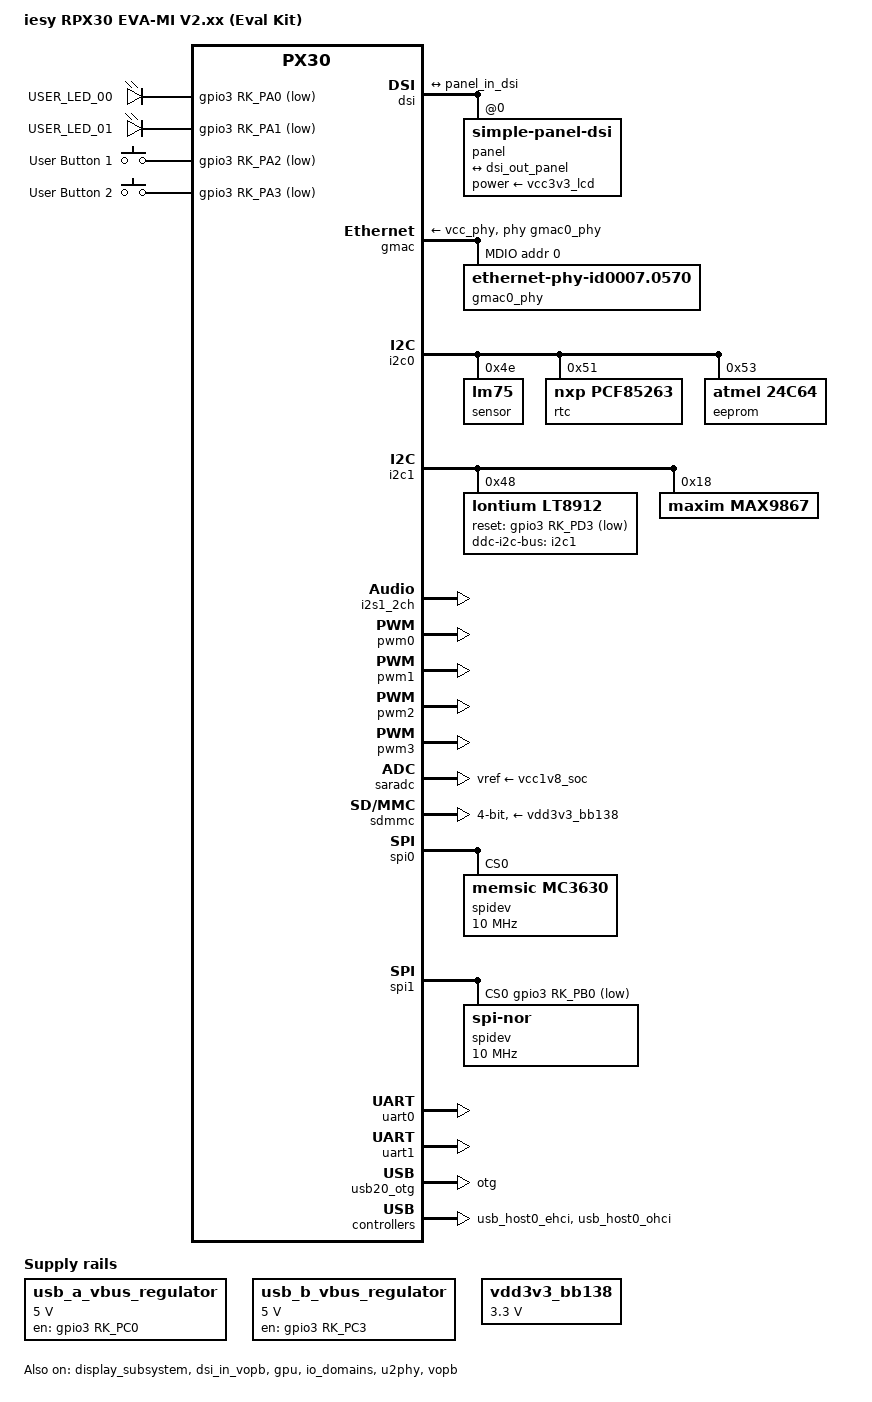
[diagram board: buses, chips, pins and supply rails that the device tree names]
// SPDX-License-Identifier: (GPL-2.0+ OR MIT)
/*
 * Device Tree for iesy RPX30 EVA-MI V2.xx (Eval Kit)
 *
 * Copyright (c) 2022 iesy GmbH
 */

/dts-v1/;
#include <dt-bindings/input/input.h>
#include <dt-bindings/net/mscc-phy-vsc8531.h>
#include "px30-iesy-osm-sf.dtsi"

/ {
	model = "iesy RPX30 EVA-MI V2.xx (Eval Kit)";
	compatible = "iesy,rpx30-eva-mi-v2", "rockchip,px30";

	leds {
		compatible = "gpio-leds";

		pinctrl-names = "default";
		pinctrl-0 = <&pinctrl_leds_bb138>;

		/* BB138a: green user led (LD4) */
		led@0 {
			label = "USER_LED_00";
			gpios = <&gpio3 RK_PA0 GPIO_ACTIVE_LOW>;
			linux,default-trigger = "heartbeat";
		};

		/* BB138a: yellow user led (LD9)) */
		led@1 {
			label = "USER_LED_01";
			gpios = <&gpio3 RK_PA1 GPIO_ACTIVE_LOW>;
			default-state = "off";
		};
	};

	/* BB138a: MAX9867ETJ+ audio codec */
	max9867-sound {
		compatible = "simple-audio-card";
		simple-audio-card,name = "rockchip,max9867-codec";
		simple-audio-card,format = "i2s";

		simple-audio-card,widgets =
			"Speaker", "Jack",
			"Microphone", "Mic";
		simple-audio-card,routing =
			"Jack", "LOUT",
			"Jack", "ROUT",
			"Mic", "DMICL",
			"Mic", "DMICR";

		simple-audio-card,frame-master = <&cpudai>;
		simple-audio-card,bitclock-master = <&cpudai>;

		status = "okay";

		cpudai: simple-audio-card,cpu {
			sound-dai = <&i2s1_2ch>;
			dai-tdm-slot-num = <1>;
			dai-tdm-slot-width = <16>;
		};

		simple-audio-card,codec {
			sound-dai = <&max9867>;
			clocks = <&cru SCLK_I2S1_OUT>;
		};
	};

	/* regulator for USB OTG port */
	usb_a_vbus_regulator: regulator@1 {
		compatible = "regulator-fixed";
		regulator-name = "usb_a_vbus_regulator";
		regulator-min-microvolt = <5000000>;
		regulator-max-microvolt = <5000000>;
		gpio = <&gpio3 RK_PC0 GPIO_ACTIVE_HIGH>;
		enable-active-high;
	};

	/* regulator for USB host port */
	usb_b_vbus_regulator: regulator@2 {
		compatible = "regulator-fixed";
		regulator-name = "usb_b_vbus_regulator";
		regulator-min-microvolt = <5000000>;
		regulator-max-microvolt = <5000000>;
		gpio = <&gpio3 RK_PC3 GPIO_ACTIVE_HIGH>;
		enable-active-high;
		regulator-always-on;
		regulator-boot-on;
	};

	user-buttons {
		compatible = "gpio-keys";
		#address-cells = <1>;
		#size-cells = <0>;
		autorepeat;

		pinctrl-names = "default";
		pinctrl-0 = <&pinctrl_buttons>;

		/* BB138a: User-Button 1 */
		user-button-1 {
			label = "User Button 1";
			gpios = <&gpio3 RK_PA2 GPIO_ACTIVE_LOW>;
			linux,code = <KEY_X>;
		};

		/* BB138a: User-Button 2 */
		user-button-2 {
			label = "User Button 2";
			gpios = <&gpio3 RK_PA3 GPIO_ACTIVE_LOW>;
			linux,code = <KEY_Z>;
		};
	};

	/* regulator for SD Card on BB138 */
	vdd3v3_bb138: regulator@4 {
		compatible = "regulator-fixed";
		regulator-name = "vdd3v3_bb138";
		regulator-min-microvolt = <3300000>;
		regulator-max-microvolt = <3300000>;
		regulator-always-on;
		regulator-boot-on;
	};
};

&display_subsystem {
	status = "okay";
};

/* Display Serial Interface */
&dsi {
	status = "okay";
	rockchip,lane-rate = <891>;

	panel@0 {
		compatible = "simple-panel-dsi";
		reg = <0>;
		power-supply = <&vcc3v3_lcd>;
		prepare-delay-ms = <2>;
		reset-delay-ms = <1>;
		init-delay-ms = <20>;
		enable-delay-ms = <120>;
		disable-delay-ms = <50>;
		unprepare-delay-ms = <20>;

		width-mm = <68>;
		height-mm = <121>;
		dsi,lanes = <2>;

		display-timings {
			native-mode = <&timing2>;

			timing1: timing1 {
				clock-frequency = <74250000>;
				hactive = <1280>;
				vactive = <720>;
				hfront-porch = <110>;
				hsync-len = <40>;
				hback-porch = <220>;
				vfront-porch = <5>;
				vsync-len = <5>;
				vback-porch = <20>;
				hsync-active = <0>;
				vsync-active = <0>;
				de-active = <0>;
				pixelclk-active = <0>;
			};

			timing2: timing2 {
				clock-frequency = <74250000>;
				hactive = <1920>;
				vactive = <1080>;
				hfront-porch = <88>;
				hsync-len = <44>;
				hback-porch = <148>;
				vfront-porch = <4>;
				vsync-len = <5>;
				vback-porch = <36>;
				hsync-active = <0>;
				vsync-active = <0>;
				de-active = <0>;
				pixelclk-active = <0>;
			};
		};

		ports {
			#address-cells = <1>;
			#size-cells = <0>;

			port@0 {
				reg = <0>;
				panel_in_dsi: endpoint {
					remote-endpoint = <&dsi_out_panel>;
				};
			};
		};

		/* should be defined to avoid kernel log errors */
		/* vsp-supply is positive voltage supply, vsn-supply is negative voltage supply */
		/* will not be critical: is not even used in simple-panel devicetree example */
		/* vsp-supply = <???>; */
		/* vsn-supply = <???>; */
	};

	ports {
		#address-cells = <1>;
		#size-cells = <0>;

		port@1 {
			reg = <1>;
			dsi_out_panel: endpoint {
				remote-endpoint = <&panel_in_dsi>;
			};
		};
	};
};

&dsi_in_vopb {
	status = "okay";
};

&dsi_in_vopl {
	status = "disabled";
};

/* ARM Mali GPU */
&gpu {
	mali-supply = <&vdd_logic>;
	shadercores-supply = <&vdd_logic>;
	status = "okay";
};

&gmac {
	phy-supply = <&vcc_phy>;
	phy-handle = <&gmac0_phy>;
	clock_in_out = "input";
	assigned-clocks = <&cru SCLK_GMAC>;
	assigned-clock-parents = <&cru SCLK_GMAC>;
	status = "okay";

	gmdio0: gmac0_mdio {
		compatible = "snps,dwmac-mdio";

		#address-cells = <1>;
		#size-cells = <0>;

		/* BB138a: Ethernet PHY */
		gmac0_phy: ethernet-phy@0 {
			compatible = "ethernet-phy-id0007.0570";
			reg = <0x0>;
			max-speed = <100>;
			vsc8531,vddmac = <1800>;
			vsc8531,edge-slowdown = <76>;
			vsc8531,led-0-mode = <VSC8531_LINK_100_ACTIVITY>;
			vsc8531,led-1-mode = <VSC8531_LINK_100_ACTIVITY>;
		};
	};
};

&i2c0 {
	/* BB138a: LM75 sensor */
	sensor@4e {
		status = "okay";
		compatible = "lm75";
		reg = <0x4e>;
	};

	/* BB138a: PFC85263 RTC */
	rtc@51 {
		status = "okay";
		compatible = "nxp,pcf85263";
		reg = <0x51>;
	};

	/* BB138a: AT24C64D EEPROM */
	eeprom@53 {
		status = "okay";
		compatible = "atmel,24c64";
		reg = <0x53>;
		pagesize = <32>;
	};
};

&i2c1 {
	status = "okay";

	/* BB138a: HDMI to MIPI converter */
	lt8912@48 {
		compatible = "lontium,lt8912";
		reg = <0x48>;
		ddc-i2c-bus = <&i2c1>;
		/* driver needs a valid reset gpio to function */
		/* use not connected pin as dummy */
		reset-gpios = <&gpio3 RK_PD3 GPIO_ACTIVE_LOW>; /* n.c. */
		status = "okay";
	};

	/* BB138a: MAX9867ETJ+ audio codec */
	max9867: audio_codec@18 {
		#sound-dai-cells = <0>;
		compatible = "maxim,max9867";
		reg = <0x18>;
		status = "okay";
		assigned-clocks = <&cru SCLK_I2S1_OUT>;
		assigned-clock-parents = <&cru SCLK_I2S1_OUT>;
		assigned-clock-rates = <50000000>;
	};
};

&i2s1_2ch {
	pinctrl-0 = <&i2s1_2ch_mclk &i2s1_2ch_sclk &i2s1_2ch_lrck
				 &i2s1_2ch_sdi &i2s1_2ch_sdo>;
	status = "okay";
};

&io_domains {
	status = "okay";

	vccio1-supply = <&vcc1v8_dvp>;
	vccio2-supply = <&vccio_sd>;
	vccio3-supply = <&vcc1v8_dvp>;
	vccio4-supply = <&vcc1v8_dvp>;
	vccio5-supply = <&vcc1v8_dvp>;
	vccio6-supply = <&vcc1v8_soc>;
	pmuio1-supply = <&vcc3v0_pmu>;
	pmuio2-supply = <&vcc1v8_soc>;
};

&pinctrl {
	headphone {
		hp_det: hp-det {
			rockchip,pins = <2 RK_PB0 RK_FUNC_GPIO &pcfg_pull_down>;
		};
	};

	leds {
		pinctrl_leds_bb138: pinctrl-leds-bb138 {
			rockchip,pins = <3 RK_PA0 RK_FUNC_GPIO &pcfg_pull_none
							 3 RK_PA1 RK_FUNC_GPIO &pcfg_pull_none>;
		};
	};

	i2c0 {
		i2c0_xfer: i2c0-xfer {
			rockchip,pins =
				<0 RK_PB0 1 &pcfg_pull_none_8ma>,
				<0 RK_PB1 1 &pcfg_pull_none_8ma>;
		};
	};

	i2c1 {
		i2c1_xfer: i2c1-xfer {
			rockchip,pins =
				<0 RK_PC2 1 &pcfg_pull_none_8ma>,
				<0 RK_PC3 1 &pcfg_pull_none_8ma>;
		};
	};

	i2c2 {
		i2c2_xfer: i2c2-xfer {
			rockchip,pins =
				<2 RK_PB7 2 &pcfg_pull_none_8ma>,
				<2 RK_PC0 2 &pcfg_pull_none_8ma>;
		};
	};

	gpiokeys {
		pinctrl_buttons: buttongrp {
			rockchip,pins = <3 RK_PA2 RK_FUNC_GPIO &pcfg_pull_up>,
							<3 RK_PA3 RK_FUNC_GPIO &pcfg_pull_up>;
		};
	};

	uart0 {
		uart0_xfer: uart0-xfer {
			rockchip,pins =
				<0 RK_PB2 1 &pcfg_pull_none_2ma>,
				<0 RK_PB3 1 &pcfg_pull_up>;
		};

		uart0_rts: uart0-rts {
			rockchip,pins =
				<0 RK_PB5 1 &pcfg_pull_none_2ma>;
		};
	};

	uart1 {
		uart1_xfer: uart1-xfer {
			rockchip,pins =
				<1 RK_PC1 1 &pcfg_pull_none_2ma>,
				<1 RK_PC0 1 &pcfg_pull_up>;
		};

		uart1_rts: uart1-rts {
			rockchip,pins =
				<1 RK_PC3 1 &pcfg_pull_none_2ma>;
		};
	};

	pwm0 {
		pwm0_pin: pwm0-pin {
			rockchip,pins =
				<0 RK_PB7 1 &pcfg_pull_none_2ma>;
		};
	};

	pwm1 {
		pwm1_pin: pwm1-pin {
			rockchip,pins =
				<0 RK_PC0 1 &pcfg_pull_none_2ma>;
		};
	};

	pwm2 {
		pwm2_pin: pwm2-pin {
			rockchip,pins =
				<2 RK_PB5 1 &pcfg_pull_none_2ma>;
		};
	};

	pwm3 {
		pwm3_pin: pwm3-pin {
			rockchip,pins =
				<0 RK_PC1 1 &pcfg_pull_none_2ma>;
		};
	};

	spi0 {
		spi0_clk: spi0-clk {
			rockchip,pins =
				<1 RK_PB7 3 &pcfg_pull_up_4ma>;
		};

		spi0_csn: spi0-csn {
			rockchip,pins =
				<1 RK_PB6 3 &pcfg_pull_up_4ma>;
		};

		spi0_mosi: spi0-mosi {
			rockchip,pins =
				<1 RK_PB4 3 &pcfg_pull_up_4ma>;
		};
	};

	spi1 {
		/* spi1.sdo */
		spi1_mosi: spi1-mosi {
			rockchip,pins =
				<3 RK_PB4 4 &pcfg_pull_none>;
		};

		/* spi1.csn PIN E17 used! */
		spi1_csn: spi1-csn {
			rockchip,pins =
				<3 RK_PB0 4 &pcfg_pull_none>;
		};

		spi1_clk: spi1-clk {
			rockchip,pins =
				<3 RK_PB7 4 &pcfg_pull_none>;
		};
	};

	u2phy {
		u2phy_host_pin: host-port {
			rockchip,pins =
				<3 RK_PC3 1 &pcfg_pull_none_4ma>;
		};

		u2phy_otg_pin: otg-port {
			rockchip,pins =
				<3 RK_PC0 1 &pcfg_pull_none_4ma>;
		};
	};
};

&pmu_io_domains {
	status = "okay";

	pmuio1-supply = <&vcc3v0_pmu>;
	pmuio2-supply = <&vcc1v8_soc>;
};

&power {
	pd_vi-supply = <&vdd_logic>;
	pd_vpu-supply = <&vdd_logic>;
	pd_gpu-supply = <&vdd_logic>;
	pd_usb-supply = <&vdd_logic>;
	pd_mmc_nand-supply = <&vdd_logic>;
	pd_vo-supply = <&vdd_logic>;
};

/* BB138a: PWM outputs on Pin Header */
&pwm0 {
	status = "okay";
};

&pwm1 {
	status = "okay";
};

&pwm2 {
	status = "okay";
};

&pwm3 {
	status = "okay";
};

/* BB138a: SAR ADC inputs */
&saradc {
	status = "okay";
	vref-supply = <&vcc1v8_soc>;
};

/* BB138a: SD card connector */
&sdmmc {
	bus-width = <4>;
	cap-mmc-highspeed;
	cap-sd-highspeed;
	supports-sd;
	card-detect-delay = <800>;
	ignore-pm-notify;
	sd-uhs-sdr12;
	sd-uhs-sdr25;
	sd-uhs-sdr50;
	sd-uhs-sdr104;
	max-frequency = <135000000>;
	vqmmc-supply = <&vccio_sd>;
	vmmc-supply = <&vdd3v3_bb138>;
	status = "okay";
};

&spi0 {
	status = "okay";

	spidev@0 {
	   compatible = "memsic,mc3630";
	   spi-max-frequency = <10000000>;
	   reg = <0>;
	};
};

&spi1 {
	status = "okay";
	cs-gpios = <&gpio3 RK_PB0 GPIO_ACTIVE_LOW>;

	spidev@0 {
	   compatible = "jedec,spi-nor";
	   spi-max-frequency = <10000000>;
	   reg = <0>;
	};
};

&u2phy {
	status = "okay";

	/* BB138a: USB2.0 Host PHY */
	u2phy_host: host-port {
		phy-supply = <&vcc3v0_pmu>;
		vbus-supply = <&usb_b_vbus_regulator>;
		status = "okay";
		pinctrl-0 = <&u2phy_host_pin>;
	};

	/* BB138a: USB2.0 OTG PHY */
	u2phy_otg: otg-port {
		phy-supply = <&vcc3v0_pmu>;
		vbus-supply = <&usb_a_vbus_regulator>;
		status = "okay";
		pinctrl-0 = <&u2phy_otg_pin>;
	};
};

/* BB138a: UART_A on MicroBus and Pin Header */
&uart0 {
	status = "okay";
};

/* BB138a: UART_B M.2 socket (not used) */
&uart1 {
	status = "okay";
};

&usb20_otg {
	dr_mode = "otg";
	status = "okay";

	/* should be defined to avoid kernel log error */
	/* vusb_d: digital usb supply, 1.2V */
	/* vusb_q: analog usb supply, 1.1V */
	/* no further info available */
	/* vusb_d-supply = <???>; */
	/* vusb_a-supply = <???>; */
};

&usb_host0_ehci {
	/*vbus-supply = <&usb_b_vbus_regulator>;*/
	status = "okay";
};

&usb_host0_ohci {
	/*vbus-supply = <&usb_b_vbus_regulator>;*/
	status = "okay";
};

/* Big Video Output Processor (VOPB) */
&vopb {
	status = "okay";
};

&vopb_mmu {
	status = "okay";
};

/* Little Video Output Processor (VOPL) */
&vopl {
	status = "disabled";
};

&vopl_mmu {
	status = "disabled";
};
